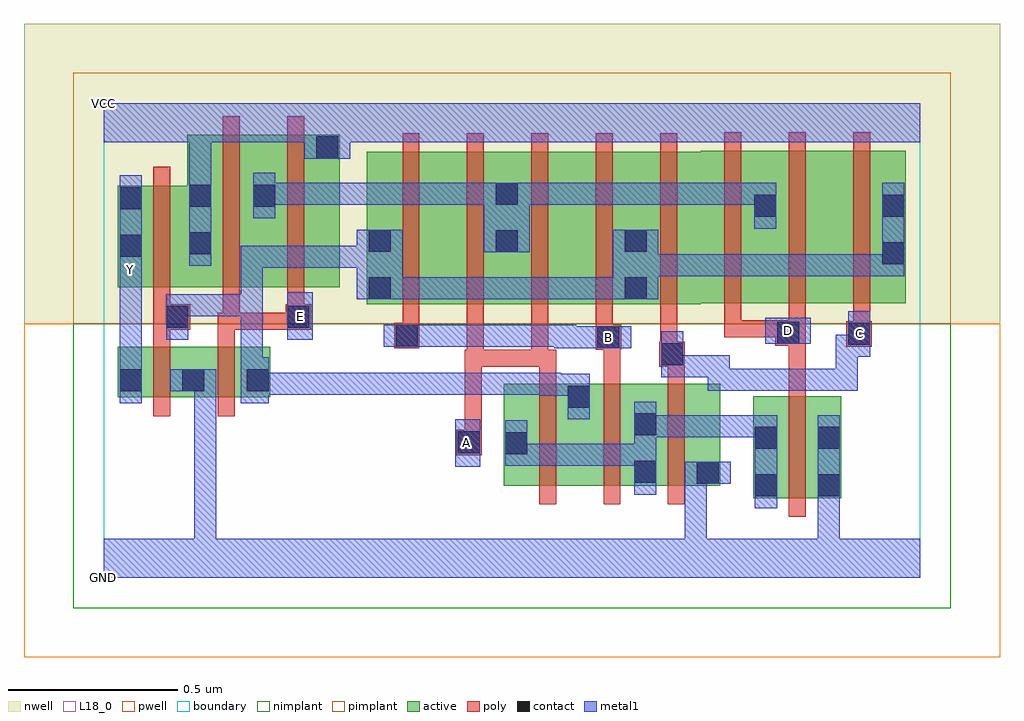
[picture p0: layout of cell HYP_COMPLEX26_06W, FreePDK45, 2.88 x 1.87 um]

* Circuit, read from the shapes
.subckt HYP_COMPLEX26_06W A B C D E GND VCC Y
M1 GND n1 Y VSUBS nfet w=0.15u l=0.05u
M2 n1 E GND VSUBS nfet w=0.15u l=0.05u
M3 n1 A n2 VSUBS nfet w=0.3u l=0.05u
M4 n2 B n1 VSUBS nfet w=0.3u l=0.05u
M5 GND C n2 VSUBS nfet w=0.3u l=0.05u
M6 GND D n2 VSUBS nfet w=0.3u l=0.05u
M7 VCC n1 Y n3 pfet w=0.3u l=0.05u
M8 n4 E VCC n3 pfet w=0.45u l=0.05u m=2
M9 n5 B n1 n3 pfet w=0.45u l=0.05u
M10 n4 A n5 n3 pfet w=0.45u l=0.05u
M11 n6 A n4 n3 pfet w=0.45u l=0.05u
M12 n1 B n6 n3 pfet w=0.45u l=0.05u
M13 n7 C n1 n3 pfet w=0.45u l=0.05u
M14 n4 D n7 n3 pfet w=0.45u l=0.05u
M15 n8 D n4 n3 pfet w=0.45u l=0.05u
M16 n1 C n8 n3 pfet w=0.45u l=0.05u
.ends

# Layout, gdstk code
import gdstk
lib = gdstk.Library(unit=1e-6, precision=1e-09)
def R(c, l, rs):  # rectangles x0, y0, x1, y1
    for r in rs: c.add(gdstk.rectangle(r[:2], r[2:], *l))
def A(c, l, x, y, w, h, nx, ny, dx, dy):  # array of equal rectangles
    R(c, l, [(x+i*dx, y+j*dy, x+i*dx+w, y+j*dy+h) for i in range(nx) for j in range(ny)])
active = (1, 0)
pwell = (2, 0)
nwell = (3, 0)
nimplant = (4, 0)
pimplant = (5, 0)
poly = (9, 0)
contact = (10, 0)
metal1 = (11, 0)
L18_0 = (18, 0)
boundary = (235, 0)

hyp_complex26_06w = lib.new_cell('HYP_COMPLEX26_06W')
R(hyp_complex26_06w, active, [(1.917,0.235,1.992,0.535), (1.917,0.235,2.177,0.535), (2.102,0.235,2.177,0.535), (1.18,0.272,1.255,0.572), (1.18,0.272,1.44,0.572), (1.365,0.272,1.635,0.572), (1.56,0.272,1.82,0.572), (1.745,0.272,1.82,0.392), (1.56,0.275,1.635,0.49), (1.365,0.395,1.44,0.572), (0.042,0.532,0.117,0.682), (0.042,0.532,0.302,0.682), (0.227,0.532,0.302,0.682), (0.227,0.532,0.492,0.682), (0.417,0.532,0.492,0.682), (0.777,0.807,1.002,1.257), (0.777,0.807,0.882,1.047), (1.002,0.807,1.227,1.257), (1.152,0.807,1.382,1.257), (1.152,0.807,1.227,1.2), (1.382,0.807,1.607,1.257), (1.532,0.807,1.762,1.257), (1.532,0.807,1.607,1.07), (1.762,0.81,1.99,1.26), (1.915,0.81,1.99,1.2), (1.915,0.81,2.142,1.26), (2.142,0.81,2.367,1.26), (2.292,0.81,2.367,1.2), (0.042,0.857,0.117,1.157), (0.042,0.857,0.322,1.157), (0.247,0.857,0.322,1.307), (0.247,0.857,0.512,1.307), (0.437,0.857,0.697,1.307), (0.437,0.857,0.512,1.2), (0.622,0.857,0.697,1.307)])
R(hyp_complex26_06w, pwell, [(-0.235,-0.235,2.645,0.75)])
R(hyp_complex26_06w, nwell, [(-0.235,0.75,2.645,1.635)])
R(hyp_complex26_06w, nimplant, [(-0.09,-0.09,2.5,0.75)])
R(hyp_complex26_06w, pimplant, [(-0.09,0.75,2.5,1.49)])
A(hyp_complex26_06w, poly, 1.285, 0.217, 0.05, 0.41, 3, 1, 0.19, 0)
A(hyp_complex26_06w, poly, 0.882, 0.752, 0.05, 0.56, 5, 1, 0.19, 0)
A(hyp_complex26_06w, poly, 1.832, 0.755, 0.05, 0.56, 3, 1, 0.19, 0)
R(hyp_complex26_06w, poly, [(2.022,0.18,2.072,0.59), (1.04,0.362,1.115,0.437), (1.065,0.387,1.115,0.672), (0.147,0.477,0.197,0.737), (0.337,0.477,0.387,0.737), (2.022,0.54,2.072,0.735), (1.285,0.577,1.335,0.672), (1.475,0.577,1.525,0.722), (1.665,0.577,1.715,0.672), (1.065,0.622,1.115,0.672), (1.065,0.622,1.115,0.672), (1.065,0.622,1.122,0.672), (1.072,0.622,1.122,0.802), (1.072,0.622,1.312,0.672), (1.262,0.622,1.312,0.672), (1.262,0.622,1.312,0.672), (1.262,0.622,1.312,0.802), (1.262,0.622,1.335,0.672), (1.64,0.622,1.715,0.697), (1.642,0.647,1.692,0.802), (1.452,0.672,1.527,0.747), (0.857,0.677,0.932,0.752), (2.192,0.682,2.267,0.757), (1.982,0.685,2.072,0.76), (0.147,0.687,0.197,0.782), (0.337,0.687,0.387,0.782), (1.452,0.697,1.502,0.802), (0.882,0.702,0.932,0.802), (2.212,0.707,2.262,0.805), (1.832,0.71,1.882,0.805), (1.832,0.71,1.882,0.76), (1.832,0.71,2.032,0.76), (1.982,0.71,2.032,0.76), (1.982,0.71,2.032,0.76), (2.022,0.71,2.072,0.805), (0.147,0.732,0.255,0.807), (0.337,0.732,0.402,0.782), (0.352,0.732,0.587,0.782), (0.352,0.732,0.402,0.852), (0.537,0.732,0.612,0.807), (0.537,0.732,0.587,0.782), (0.537,0.732,0.587,0.782), (0.147,0.757,0.197,0.852), (0.542,0.757,0.592,0.852), (0.147,0.802,0.197,1.212), (0.352,0.802,0.402,1.362), (0.542,0.802,0.592,1.362)])
R(hyp_complex26_06w, contact, [(1.922,0.24,1.987,0.305), (2.107,0.24,2.172,0.305), (1.75,0.277,1.815,0.342), (1.565,0.28,1.63,0.345), (1.185,0.365,1.25,0.43), (1.045,0.367,1.11,0.432), (1.922,0.38,1.987,0.445), (2.107,0.38,2.172,0.445), (1.565,0.42,1.63,0.485), (1.37,0.502,1.435,0.567), (0.047,0.55,0.112,0.615), (0.232,0.55,0.297,0.615), (0.422,0.55,0.487,0.615), (1.645,0.627,1.71,0.692), (1.457,0.677,1.522,0.742), (0.862,0.682,0.927,0.747), (2.197,0.687,2.262,0.752), (1.987,0.69,2.052,0.755), (0.185,0.737,0.25,0.802), (0.542,0.737,0.607,0.802), (0.782,0.822,0.847,0.887), (1.537,0.822,1.602,0.887), (2.297,0.925,2.362,0.99), (0.047,0.947,0.112,1.012), (0.252,0.955,0.317,1.02), (1.157,0.96,1.222,1.025), (0.782,0.962,0.847,1.027), (1.537,0.962,1.602,1.027), (1.92,1.065,1.985,1.13), (2.297,1.065,2.362,1.13), (0.047,1.087,0.112,1.152), (0.252,1.095,0.317,1.16), (0.442,1.095,0.507,1.16), (1.157,1.1,1.222,1.165), (0.627,1.237,0.692,1.302)])
R(hyp_complex26_06w, metal1, [(0,0,2.41,0.115), (0.267,0.05,0.332,0.115), (0.267,0.05,0.332,0.115), (0.267,0.05,0.332,0.115), (0.267,0.05,0.332,0.115), (0.267,0.05,0.332,0.115), (0.267,0.05,0.332,0.115), (0.267,0.05,0.332,0.615), (1.715,0.05,1.78,0.115), (1.715,0.05,1.78,0.115), (1.715,0.05,1.78,0.342), (2.107,0.05,2.172,0.27), (1.922,0.205,1.987,0.48), (2.107,0.205,2.172,0.27), (2.107,0.205,2.172,0.27), (2.107,0.205,2.172,0.27), (2.107,0.205,2.172,0.27), (2.107,0.205,2.172,0.48), (1.565,0.245,1.63,0.52), (1.715,0.277,1.78,0.342), (1.715,0.277,1.78,0.342), (1.715,0.277,1.85,0.342), (1.037,0.327,1.112,0.467), (1.185,0.33,1.25,0.395), (1.185,0.33,1.25,0.395), (1.185,0.33,1.25,0.465), (1.185,0.33,1.395,0.395), (1.33,0.33,1.395,0.395), (1.33,0.33,1.487,0.395), (1.422,0.33,1.487,0.395), (1.422,0.33,1.63,0.395), (1.565,0.415,1.705,0.48), (1.64,0.415,1.705,0.48), (1.64,0.415,1.847,0.48), (1.782,0.415,1.847,0.48), (1.782,0.415,1.847,0.48), (1.782,0.415,1.847,0.48), (1.782,0.415,1.987,0.48), (1.37,0.467,1.435,0.602), (0.047,0.515,0.112,0.65), (0.405,0.515,0.487,0.65), (1.285,0.537,1.435,0.602), (1.285,0.537,1.35,0.605), (0.422,0.54,0.66,0.605), (0.595,0.54,0.66,0.605), (0.595,0.54,0.66,0.605), (0.595,0.54,0.66,0.605), (0.595,0.54,0.797,0.605), (0.732,0.54,0.797,0.605), (0.732,0.54,0.797,0.605), (0.732,0.54,0.797,0.605), (0.732,0.54,1.02,0.605), (0.955,0.54,1.02,0.605), (0.955,0.54,1.112,0.605), (1.047,0.54,1.112,0.605), (1.047,0.54,1.257,0.605), (1.192,0.54,1.257,0.605), (1.192,0.54,1.35,0.605), (0.197,0.55,0.332,0.615), (1.782,0.552,1.847,0.617), (1.782,0.552,1.847,0.617), (1.782,0.552,1.847,0.617), (1.782,0.552,1.985,0.617), (1.782,0.552,1.847,0.657), (1.92,0.552,1.985,0.617), (1.92,0.552,1.985,0.617), (1.92,0.552,1.985,0.617), (1.92,0.552,2.225,0.617), (2.16,0.552,2.225,0.617), (2.16,0.552,2.225,0.717), (0.047,0.585,0.112,0.907), (0.405,0.585,0.47,0.837), (1.645,0.592,1.71,0.727), (1.645,0.592,1.847,0.657), (1.782,0.592,1.847,0.657), (2.16,0.652,2.225,0.717), (2.16,0.652,2.262,0.717), (2.197,0.652,2.262,0.787), (1.33,0.677,1.487,0.742), (1.33,0.677,1.395,0.747), (1.422,0.677,1.557,0.742), (0.827,0.682,0.962,0.747), (0.897,0.682,1.02,0.747), (0.955,0.682,1.02,0.747), (0.955,0.682,1.112,0.747), (1.047,0.682,1.112,0.747), (1.047,0.682,1.257,0.747), (1.192,0.682,1.257,0.747), (1.192,0.682,1.257,0.747), (1.192,0.682,1.257,0.747), (1.192,0.682,1.395,0.747), (1.952,0.69,2.087,0.767), (0.185,0.702,0.25,0.837), (0.542,0.702,0.617,0.842), (0.185,0.772,0.25,0.837), (0.185,0.772,0.25,0.837), (0.185,0.772,0.47,0.837), (0.405,0.772,0.47,0.837), (0.405,0.772,0.47,0.837), (0.405,0.772,0.47,0.837), (0.405,0.772,0.47,0.98), (0.747,0.822,0.882,1.027), (0.817,0.822,0.882,0.887), (0.817,0.822,0.882,0.887), (0.817,0.822,1.02,0.887), (0.955,0.822,1.02,0.887), (0.955,0.822,1.112,0.887), (1.047,0.822,1.112,0.887), (1.047,0.822,1.25,0.887), (1.185,0.822,1.25,0.887), (1.185,0.822,1.25,0.887), (1.185,0.822,1.25,0.887), (1.185,0.822,1.395,0.887), (1.33,0.822,1.395,0.887), (1.33,0.822,1.567,0.887), (1.502,0.822,1.567,0.887), (1.502,0.822,1.567,0.887), (1.502,0.822,1.637,1.027), (0.047,0.842,0.112,0.977), (1.572,0.89,1.705,0.955), (1.64,0.89,1.705,0.955), (1.64,0.89,1.775,0.955), (1.71,0.89,1.775,0.955), (1.71,0.89,1.847,0.955), (1.782,0.89,1.847,0.955), (1.782,0.89,1.985,0.955), (1.92,0.89,1.985,0.955), (1.92,0.89,2.122,0.955), (2.057,0.89,2.122,0.955), (2.057,0.89,2.122,0.955), (2.057,0.89,2.122,0.955), (2.057,0.89,2.362,0.955), (2.297,0.89,2.362,0.955), (2.297,0.89,2.362,0.955), (2.297,0.89,2.362,1.165), (0.047,0.912,0.112,0.977), (0.047,0.912,0.112,1.187), (0.405,0.915,0.47,0.98), (0.405,0.915,0.645,0.98), (0.58,0.915,0.645,0.98), (0.58,0.915,0.645,0.98), (0.58,0.915,0.645,0.98), (0.58,0.915,0.812,0.98), (0.252,0.92,0.317,1.195), (1.122,0.96,1.257,1.165), (1.92,1.03,1.985,1.165), (0.442,1.06,0.507,1.195), (0.442,1.1,0.66,1.165), (0.595,1.1,0.66,1.165), (0.595,1.1,0.66,1.165), (0.595,1.1,0.66,1.165), (0.595,1.1,0.797,1.165), (0.732,1.1,0.797,1.165), (0.732,1.1,0.797,1.165), (0.732,1.1,0.797,1.165), (0.732,1.1,1.02,1.165), (0.955,1.1,1.02,1.165), (0.955,1.1,1.112,1.165), (1.047,1.1,1.112,1.165), (1.047,1.1,1.187,1.165), (1.192,1.1,1.257,1.165), (1.192,1.1,1.257,1.165), (1.192,1.1,1.395,1.165), (1.33,1.1,1.395,1.165), (1.33,1.1,1.532,1.165), (1.467,1.1,1.532,1.165), (1.467,1.1,1.532,1.165), (1.467,1.1,1.532,1.165), (1.467,1.1,1.71,1.165), (1.645,1.1,1.71,1.165), (1.645,1.1,1.847,1.165), (1.782,1.1,1.847,1.165), (1.782,1.1,1.847,1.165), (1.782,1.1,1.847,1.165), (1.782,1.1,1.985,1.165), (0.252,1.13,0.317,1.35), (0.592,1.237,0.727,1.302), (0.662,1.237,0.727,1.35), (0,1.285,2.41,1.4)])
R(hyp_complex26_06w, L18_0, [(0,0,2.41,0.115), (0.267,0.05,0.332,0.115), (0.267,0.05,0.332,0.115), (0.267,0.05,0.332,0.115), (0.267,0.05,0.332,0.115), (0.267,0.05,0.332,0.115), (0.267,0.05,0.332,0.115), (0.267,0.05,0.332,0.615), (1.715,0.05,1.78,0.115), (1.715,0.05,1.78,0.115), (1.715,0.05,1.78,0.342), (2.107,0.05,2.172,0.27), (2.107,0.205,2.172,0.48), (2.107,0.205,2.172,0.27), (2.107,0.205,2.172,0.27), (2.107,0.205,2.172,0.27), (2.107,0.205,2.172,0.27), (1.715,0.277,1.78,0.342), (1.715,0.277,1.78,0.342), (1.715,0.277,1.85,0.342), (1.037,0.327,1.112,0.467), (1.037,0.367,1.102,0.432), (0.047,0.515,0.112,0.65), (0.197,0.55,0.332,0.615), (1.782,0.552,1.847,0.617), (1.782,0.552,1.847,0.617), (1.782,0.552,1.847,0.617), (1.782,0.552,1.985,0.617), (1.782,0.552,1.847,0.657), (1.92,0.552,1.985,0.617), (1.92,0.552,1.985,0.617), (1.92,0.552,1.985,0.617), (1.92,0.552,2.225,0.617), (2.16,0.552,2.225,0.617), (2.16,0.552,2.225,0.717), (0.047,0.585,0.112,0.907), (1.645,0.592,1.71,0.727), (1.645,0.592,1.847,0.657), (1.782,0.592,1.847,0.657), (2.16,0.652,2.225,0.717), (2.16,0.652,2.262,0.717), (2.197,0.652,2.262,0.787), (1.33,0.677,1.487,0.742), (1.33,0.677,1.395,0.747), (1.422,0.677,1.557,0.742), (1.457,0.677,1.522,0.742), (0.827,0.682,0.962,0.747), (0.897,0.682,1.02,0.747), (0.955,0.682,1.02,0.747), (0.955,0.682,1.112,0.747), (1.047,0.682,1.112,0.747), (1.047,0.682,1.257,0.747), (1.192,0.682,1.257,0.747), (1.192,0.682,1.257,0.747), (1.192,0.682,1.257,0.747), (1.192,0.682,1.395,0.747), (2.197,0.687,2.262,0.752), (1.952,0.69,2.087,0.767), (1.987,0.697,2.052,0.762), (0.542,0.702,0.617,0.842), (0.547,0.737,0.612,0.802), (0.047,0.842,0.112,0.977), (0.047,0.877,0.112,0.942), (0.047,0.912,0.112,1.187), (0.047,0.912,0.112,0.977), (0.252,0.92,0.317,1.195), (0.252,1.13,0.317,1.35), (0.592,1.237,0.727,1.302), (0.662,1.237,0.727,1.35), (0,1.285,2.41,1.4)])
R(hyp_complex26_06w, boundary, [(0,0,2.41,1.4)])
hyp_complex26_06w.add(gdstk.Label('A', (1.07,0.4), layer=11, texttype=0))
hyp_complex26_06w.add(gdstk.Label('B', (1.49,0.71), layer=11, texttype=0))
hyp_complex26_06w.add(gdstk.Label('C', (2.23,0.72), layer=11, texttype=0))
hyp_complex26_06w.add(gdstk.Label('D', (2.02,0.73), layer=11, texttype=0))
hyp_complex26_06w.add(gdstk.Label('E', (0.58,0.77), layer=11, texttype=0))
hyp_complex26_06w.add(gdstk.Label('Y', (0.08,0.91), layer=11, texttype=0))
hyp_complex26_06w.add(gdstk.Label('VCC', (0,1.4), layer=11, texttype=0))
hyp_complex26_06w.add(gdstk.Label('GND', (0,0), layer=11, texttype=0))

lib.write_gds('HYP_COMPLEX26_06W.gds')
